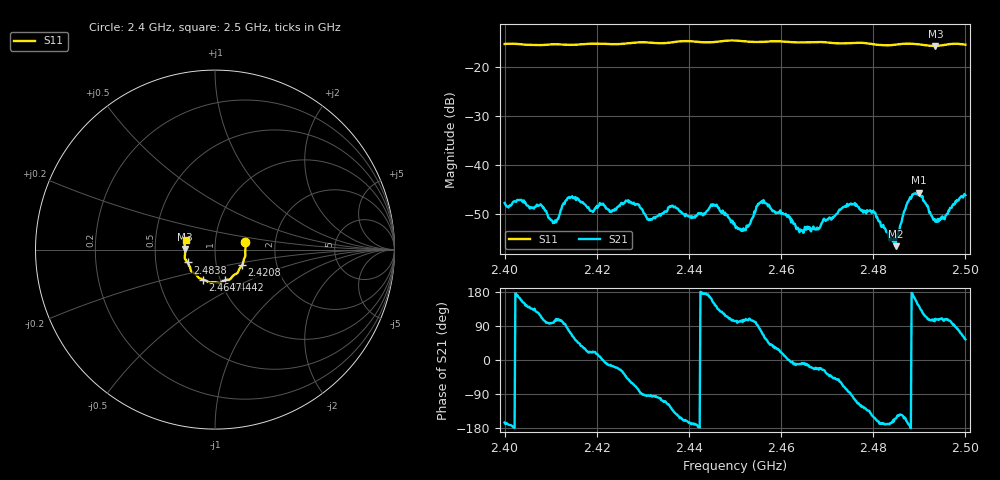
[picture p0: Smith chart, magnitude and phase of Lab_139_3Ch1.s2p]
# Hz S RI R
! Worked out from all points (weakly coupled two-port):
!   601 points, 2.4 GHz to 2.5 GHz, reference 50 ohm
!   highest |S21| = -45.71 dB at 2.4898 GHz (marker M1); lowest = -56.7 dB at 2.4848 GHz (marker M2)
!   lowest |S11| = -15.6 dB at 2.4935 GHz (marker M3), VSWR 1.40, Z = 35.8 + j0.2 ohm
!   |S11| at or under -10 dB: start of sweep to end of sweep
!   S12 and S22 are empty: the file has one direction only
!   S11 on the Smith chart (normalised r, x): 2.4 GHz: 1.40, +0.12; 2.4208 GHz: 1.33, -0.24; 2.4442 GHz: 1.05, -0.37; 2.4647 GHz: 0.83, -0.29; 2.4838 GHz: 0.73, -0.11; 2.5 GHz: 0.72, +0.08
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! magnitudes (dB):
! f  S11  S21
! 2.4 GHz  -15.2  -47.8
! 2.4077 GHz  -15.4  -48.2
! 2.4108 GHz  -15.3  -51.9
! 2.4137 GHz  -15.4  -46.8
! 2.4167 GHz  -15.3  -47.6
! 2.4208 GHz  -15.2  -48.1
! 2.4333 GHz  -15.1  -50.4
! 2.4442 GHz  -14.9  -49.2
! 2.45 GHz  -14.5  -52.4
! 2.4525 GHz  -14.7  -52.5
! 2.456 GHz  -14.8  -47.8
! 2.4647 GHz  -14.9  -53.4
! 2.4667 GHz  -14.8  -53.1
! 2.4755 GHz  -15.0  -48.0
! 2.48 GHz  -15.2  -49.4
! 2.4833 GHz  -15.5  -54.6
! 2.4838 GHz  -15.5  -55.3
! 2.4848 GHz  -15.3  -56.7
! 2.4875 GHz  -15.1  -47.6
! 2.4898 GHz  -15.3  -45.7
! 2.4935 GHz  -15.6  -51.7
! 2.5 GHz  -15.3  -46.2
